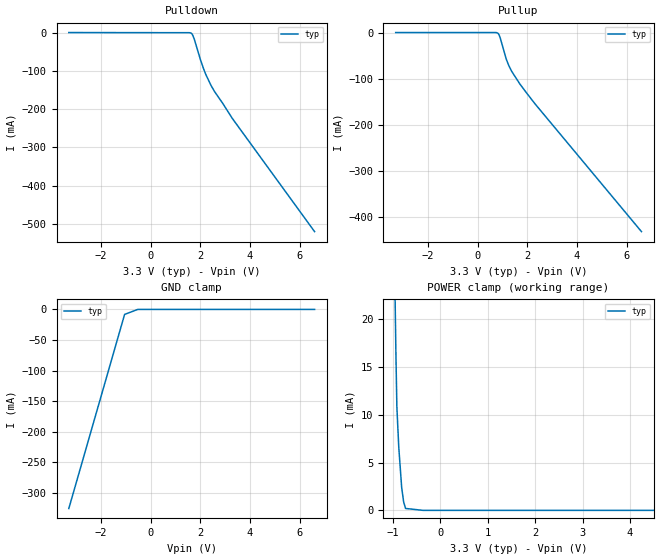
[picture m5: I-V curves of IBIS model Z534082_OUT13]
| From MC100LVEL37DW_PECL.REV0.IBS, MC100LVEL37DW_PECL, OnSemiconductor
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| (C) COPYRIGHT 1993-2000
| MENTOR GRAPHICS CORPORATION
| ICX STANDARD LIBRARY, ICX PROJECT MODELING,
| ICX CUSTOM MODELING, ICX VENDOR MODEL
| ALL RIGHTS RESERVED.
| THE FOLLOWING ARE TRADEMARKS OR SERVICE MARKS OF
| MENTOR GRAPHICS CORPORATION:ICX (R), ICX STANDARD
| LIBRARY(R), ICX PROJECT MODELING(R), ICX CUSTOM
| MODELING(R), qualityIBIS(TM), MODELVIEWER(TM),
| AND MODELEDITOR(TM)
| ALL COPIES OF SOFTWARE, INCLUDING BUT NOT LIMITED TO
| ANY MODIFICATIONS, ENHANCEMENTS OR DERIVATIVE WORKS,
| MUST CONTAIN ALL MENTOR GRAPHICS CORPORATION'S
| NOTICES AND LEGENDS, INCLUDING THOSE EMBEDDED IN
| SOFTWARE AND THOSE AFFIXED TO SOFTWARE MEDIUM
| AND CONTAINER, AS RECEIVED FROM MENTOR GRAPHICS
| CORPORATION.
| Model Application Version 1.89 2/18/99.
[Model] Z534082_OUT13
Model_type Output_ECL
Vref=1.300V
Rref=50.00ohms
Cref=0.000F
Vmeas=2.207V
C_comp 8.000pF NA NA
| variable typ   min   max
[Voltage Range] 3.300V NA NA
[POWER Clamp Reference] 3.300V NA NA
[Pullup Reference] 3.300V NA NA
[Pulldown Reference] 3.300V NA NA
[GND Clamp Reference] 0.000V NA NA
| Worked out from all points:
|   POWER clamp passes 1 mA (typ) near -0.78 V on its own axis
[GND Clamp]
-3.3V     -325.7mA   NA         NA
-1.053V   -8.21mA    NA         NA
-526.5mV  0A         NA         NA
6.6V      0A         NA         NA
[Pulldown]
-3.3V     332uA      NA         NA
1.517V    0A         NA         NA
1.659V    -3mA       NA         NA
1.76V     -18.2mA    NA         NA
2.003V    -71mA      NA         NA
2.145V    -97.4mA    NA         NA
2.429V    -138.1mA   NA         NA
2.571V    -154.1mA   NA         NA
3.28V     -223.8mA   NA         NA
6.6V      -520.5mA   NA         NA
[Pullup]
-3.3V     0A         NA         NA
706mV     0A         NA         NA
827mV     -2mA       NA         NA
909mV     -11.3mA    NA         NA
1.152V    -57.3mA    NA         NA
1.253V    -71.2mA    NA         NA
1.375V    -84.2mA    NA         NA
1.699V    -111.1mA   NA         NA
2.307V    -154mA     NA         NA
6.6V      -430.9mA   NA         NA
[POWER Clamp]
-3.3V     813.9mA    NA         NA
-936mV    16.3mA     NA         NA
-916mV    10.8mA     NA         NA
-876mV    6.6mA      NA         NA
-815mV    2.4mA      NA         NA
-774mV    900uA      NA         NA
-733mV    200uA      NA         NA
-366.5mV  0A         NA         NA
6.6V      0A         NA         NA
[Ramp]
| variable typ min max
dV/dt_r 391.0m/494.0p NA NA
dV/dt_f 391.0m/369.0p NA NA
R_load = 50.00Ohms
